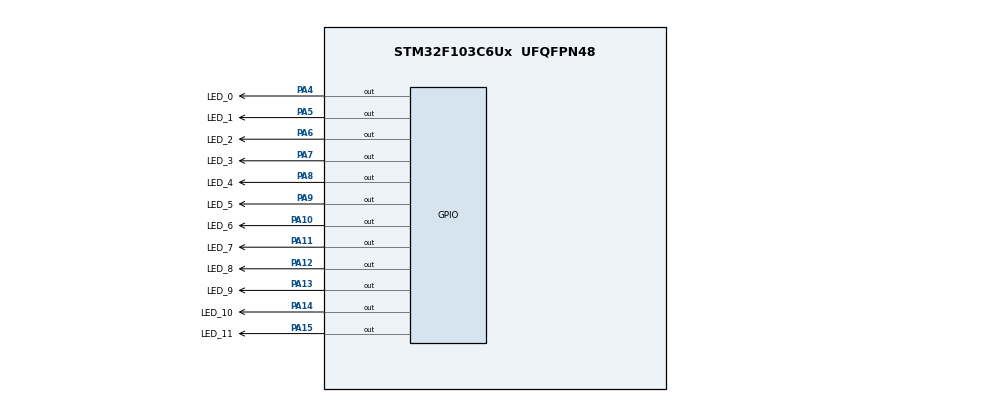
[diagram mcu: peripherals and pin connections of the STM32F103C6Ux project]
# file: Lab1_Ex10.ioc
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Mcu.Family=STM32F1
Mcu.Name=STM32F103C6Ux
Mcu.Package=UFQFPN48
NVIC.PriorityGroup=NVIC_PRIORITYGROUP_4
PA10.GPIO_Label=LED_6
PA10.Signal=GPIO_Output
PA11.GPIO_Label=LED_7
PA11.Signal=GPIO_Output
PA12.GPIO_Label=LED_8
PA12.Signal=GPIO_Output
PA13.GPIO_Label=LED_9
PA13.Signal=GPIO_Output
PA14.GPIO_Label=LED_10
PA14.Signal=GPIO_Output
PA15.GPIO_Label=LED_11
PA15.Signal=GPIO_Output
PA4.GPIO_Label=LED_0
PA4.Signal=GPIO_Output
PA5.GPIO_Label=LED_1
PA5.Signal=GPIO_Output
PA6.GPIO_Label=LED_2
PA6.Signal=GPIO_Output
PA7.GPIO_Label=LED_3
PA7.Signal=GPIO_Output
PA8.GPIO_Label=LED_4
PA8.Signal=GPIO_Output
PA9.GPIO_Label=LED_5
PA9.Signal=GPIO_Output
ProjectManager.HeapSize=0x200
ProjectManager.StackSize=0x400
ProjectManager.TargetToolchain=STM32CubeIDE
RCC.APB1Freq_Value=8000000
RCC.APB2Freq_Value=8000000
VP_SYS_VS_ND.Mode=No_Debug
board=custom

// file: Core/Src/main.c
/* USER CODE BEGIN Header */
/**
  ******************************************************************************
  * @file           : main.c
  * @brief          : Main program body
  ******************************************************************************
  * @attention
  *
  * <h2><center>&copy; Copyright (c) 2022 STMicroelectronics.
  * All rights reserved.</center></h2>
  *
  * This software component is licensed by ST under BSD 3-Clause license,
  * the "License"; You may not use this file except in compliance with the
  * License. You may obtain a copy of the License at:
  *                        opensource.org/licenses/BSD-3-Clause
  *
  ******************************************************************************
  */
/* USER CODE END Header */
#include "main.h"

void SystemClock_Config(void);
static void MX_GPIO_Init(void);

/* USER CODE BEGIN 0 */
void clearAllClock(){
	HAL_GPIO_WritePin(LED_0_GPIO_Port, LED_0_Pin, GPIO_PIN_SET);
	HAL_GPIO_WritePin(LED_1_GPIO_Port, LED_1_Pin, GPIO_PIN_SET);
	HAL_GPIO_WritePin(LED_2_GPIO_Port, LED_2_Pin, GPIO_PIN_SET);
	HAL_GPIO_WritePin(LED_3_GPIO_Port, LED_3_Pin, GPIO_PIN_SET);
	HAL_GPIO_WritePin(LED_4_GPIO_Port, LED_4_Pin, GPIO_PIN_SET);
	HAL_GPIO_WritePin(LED_5_GPIO_Port, LED_5_Pin, GPIO_PIN_SET);
	HAL_GPIO_WritePin(LED_6_GPIO_Port, LED_6_Pin, GPIO_PIN_SET);
	HAL_GPIO_WritePin(LED_7_GPIO_Port, LED_7_Pin, GPIO_PIN_SET);
	HAL_GPIO_WritePin(LED_8_GPIO_Port, LED_8_Pin, GPIO_PIN_SET);
	HAL_GPIO_WritePin(LED_9_GPIO_Port, LED_9_Pin, GPIO_PIN_SET);
	HAL_GPIO_WritePin(LED_10_GPIO_Port, LED_10_Pin, GPIO_PIN_SET);
	HAL_GPIO_WritePin(LED_11_GPIO_Port, LED_11_Pin, GPIO_PIN_SET);
}
void realclock(int sec, int min, int hour){
	sec = sec /5;
	min = min /5;
	clearAllClock () ;
	if(sec == 0 || min == 0 || hour == 0){
		HAL_GPIO_WritePin(LED_0_GPIO_Port, LED_0_Pin, GPIO_PIN_RESET);
	}
	if ( sec ==1|| min ==1|| hour ==1){
		HAL_GPIO_WritePin(LED_1_GPIO_Port, LED_1_Pin, GPIO_PIN_RESET);
	}
	if ( sec == 2 || min == 2 || hour == 2){
		HAL_GPIO_WritePin ( LED_2_GPIO_Port , LED_2_Pin , GPIO_PIN_RESET) ;
	}
	if ( sec ==3|| min ==3|| hour ==3){
		HAL_GPIO_WritePin ( LED_3_GPIO_Port , LED_3_Pin , GPIO_PIN_RESET) ;
	}
	if ( sec ==4|| min ==4|| hour ==4){
		HAL_GPIO_WritePin ( LED_4_GPIO_Port , LED_4_Pin , GPIO_PIN_RESET) ;
	}
	if ( sec ==5|| min ==5|| hour ==5){
	HAL_GPIO_WritePin ( LED_5_GPIO_Port , LED_5_Pin , GPIO_PIN_RESET ) ;
	}
	if ( sec ==6|| min ==6|| hour ==6){
		HAL_GPIO_WritePin ( LED_6_GPIO_Port , LED_6_Pin , GPIO_PIN_RESET) ;
	}
	if ( sec ==7 || min ==7 || hour ==7){
		HAL_GPIO_WritePin(LED_7_GPIO_Port, LED_7_Pin, GPIO_PIN_RESET);
	}
	if ( sec ==8|| min ==8|| hour ==8){
		HAL_GPIO_WritePin(LED_8_GPIO_Port, LED_8_Pin, GPIO_PIN_RESET);
	}
	if ( sec ==9 || min ==9 || hour ==9){
		HAL_GPIO_WritePin(LED_9_GPIO_Port, LED_9_Pin, GPIO_PIN_RESET);
	}
	if ( sec ==10 || min ==10 || hour ==10)
	{
		HAL_GPIO_WritePin(LED_10_GPIO_Port, LED_10_Pin, GPIO_PIN_RESET);
	}
	if ( sec ==11|| min ==11|| hour ==11){
		HAL_GPIO_WritePin(LED_11_GPIO_Port, LED_11_Pin, GPIO_PIN_RESET);
	}
}
/* USER CODE END 0 */

int main(void)
{

  /* MCU Configuration--------------------------------------------------------*/

  /* Reset of all peripherals, Initializes the Flash interface and the Systick. */
  HAL_Init();

  /* Configure the system clock */
  SystemClock_Config();

  /* Initialize all configured peripherals */
  MX_GPIO_Init();

  /* Infinite loop */
  while (1)
  {

    /* USER CODE BEGIN 3 */
	  int sec, min, hour;
	  sec = 10; min = 20; hour = 7;
	  realclock(sec, min, hour);
	  HAL_Delay(1000);
  }
  /* USER CODE END 3 */
}

void SystemClock_Config(void)
{
  RCC_OscInitTypeDef RCC_OscInitStruct = {0};
  RCC_ClkInitTypeDef RCC_ClkInitStruct = {0};

  /** Initializes the RCC Oscillators according to the specified parameters
  * in the RCC_OscInitTypeDef structure.
  */
  RCC_OscInitStruct.OscillatorType = RCC_OSCILLATORTYPE_HSI;
  RCC_OscInitStruct.HSIState = RCC_HSI_ON;
  RCC_OscInitStruct.HSICalibrationValue = RCC_HSICALIBRATION_DEFAULT;
  RCC_OscInitStruct.PLL.PLLState = RCC_PLL_NONE;
  if (HAL_RCC_OscConfig(&RCC_OscInitStruct) != HAL_OK)
  {
    Error_Handler();
  }
  /** Initializes the CPU, AHB and APB buses clocks
  */
  RCC_ClkInitStruct.ClockType = RCC_CLOCKTYPE_HCLK|RCC_CLOCKTYPE_SYSCLK
                              |RCC_CLOCKTYPE_PCLK1|RCC_CLOCKTYPE_PCLK2;
  RCC_ClkInitStruct.SYSCLKSource = RCC_SYSCLKSOURCE_HSI;
  RCC_ClkInitStruct.AHBCLKDivider = RCC_SYSCLK_DIV1;
  RCC_ClkInitStruct.APB1CLKDivider = RCC_HCLK_DIV1;
  RCC_ClkInitStruct.APB2CLKDivider = RCC_HCLK_DIV1;

  if (HAL_RCC_ClockConfig(&RCC_ClkInitStruct, FLASH_LATENCY_0) != HAL_OK)
  {
    Error_Handler();
  }
}

static void MX_GPIO_Init(void)
{
  GPIO_InitTypeDef GPIO_InitStruct = {0};

  /* GPIO Ports Clock Enable */
  __HAL_RCC_GPIOA_CLK_ENABLE();

  /*Configure GPIO pin Output Level */
  HAL_GPIO_WritePin(GPIOA, LED_0_Pin|LED_1_Pin|LED_2_Pin|LED_3_Pin
                          |LED_4_Pin|LED_5_Pin|LED_6_Pin|LED_7_Pin
                          |LED_8_Pin|LED_9_Pin|LED_10_Pin|LED_11_Pin, GPIO_PIN_RESET);

  /*Configure GPIO pins : LED_0_Pin LED_1_Pin LED_2_Pin LED_3_Pin
                           LED_4_Pin LED_5_Pin LED_6_Pin LED_7_Pin
                           LED_8_Pin LED_9_Pin LED_10_Pin LED_11_Pin */
  GPIO_InitStruct.Pin = LED_0_Pin|LED_1_Pin|LED_2_Pin|LED_3_Pin
                          |LED_4_Pin|LED_5_Pin|LED_6_Pin|LED_7_Pin
                          |LED_8_Pin|LED_9_Pin|LED_10_Pin|LED_11_Pin;
  GPIO_InitStruct.Mode = GPIO_MODE_OUTPUT_PP;
  GPIO_InitStruct.Pull = GPIO_NOPULL;
  GPIO_InitStruct.Speed = GPIO_SPEED_FREQ_LOW;
  HAL_GPIO_Init(GPIOA, &GPIO_InitStruct);

}

void Error_Handler(void)
{
  __disable_irq();
  while (1)
  {
  }
}

/************************ (C) COPYRIGHT STMicroelectronics *****END OF FILE****/
